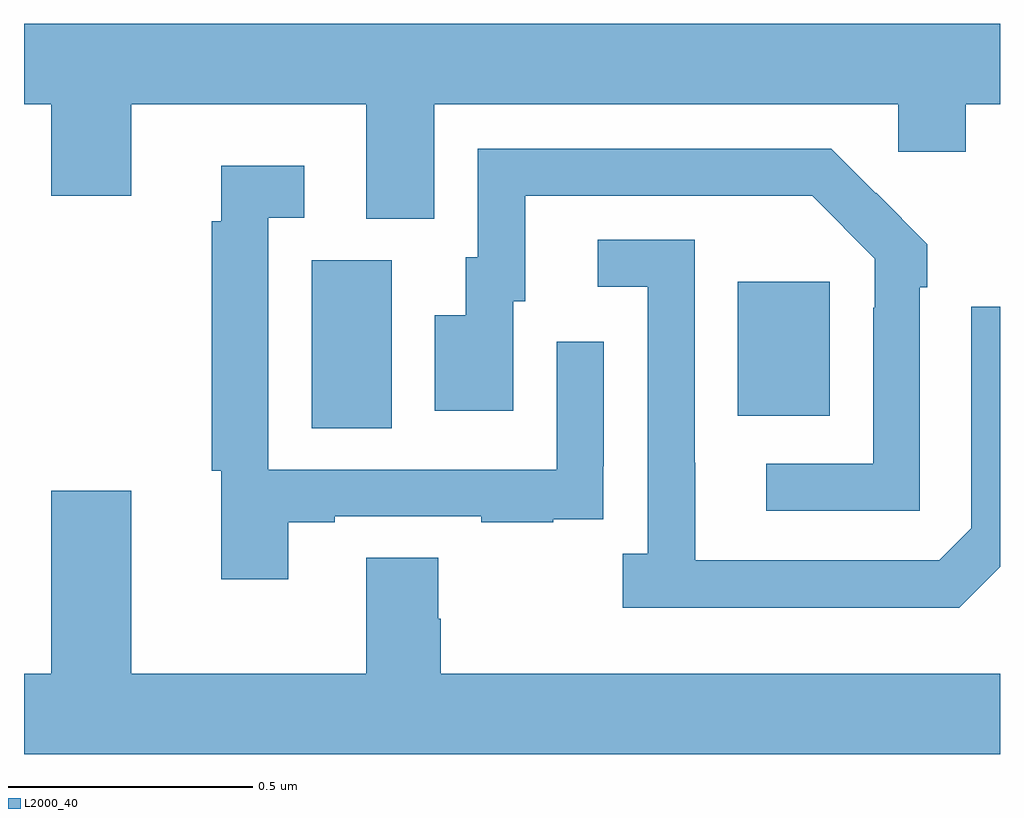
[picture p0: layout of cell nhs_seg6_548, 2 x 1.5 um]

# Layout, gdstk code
import gdstk
lib = gdstk.Library(unit=1e-6, precision=1e-09)
def R(c, l, rs):  # rectangles x0, y0, x1, y1
    for r in rs: c.add(gdstk.rectangle(r[:2], r[2:], *l))
def P(c, l, *ps):  # polygons
    for p in ps: c.add(gdstk.Polygon(p, *l))
L2000_40 = (2000, 40)

nhs_seg6_548 = lib.new_cell('nhs_seg6_548')
R(nhs_seg6_548, L2000_40, [(117.59,978.64,117.754,978.984), (118.463,978.665,118.651,978.94)])
P(nhs_seg6_548, L2000_40, [(117.841,979.304),(118.791,979.304),(118.791,979.206),(118.93,979.206),(118.93,979.304),(119,979.304),(119,979.468),(117,979.468),(117,979.304),(117.056,979.304),(117.056,979.116),(117.22,979.116),(117.22,979.304),(117.701,979.304),(117.701,979.069),(117.841,979.069)],
  [(118.836,978.929),(118.851,978.929),(118.851,979.017),(118.746,979.122),(118.745,979.121),(118.654,979.212),(117.93,979.212),(117.93,978.99),(117.905,978.99),(117.905,978.871),(117.842,978.871),(117.842,978.675),(118.003,978.675),(118.003,978.9),(118.027,978.9),(118.027,979.116),(118.615,979.116),(118.743,978.987),(118.743,978.887),(118.74,978.887),(118.74,978.567),(118.521,978.567),(118.521,978.471),(118.836,978.471)],
  [(117.541,978.447),(117.637,978.447),(117.637,978.459),(117.937,978.459),(117.937,978.447),(118.085,978.447),(118.085,978.453),(118.187,978.453),(118.187,978.562),(118.188,978.562),(118.188,978.817),(118.092,978.817),(118.092,978.555),(117.501,978.555),(117.501,979.071),(117.574,979.071),(117.574,979.177),(117.404,979.177),(117.404,979.064),(117.385,979.064),(117.385,978.552),(117.404,978.552),(117.404,978.33),(117.541,978.33)],
  [(119,978.356),(119,978.889),(118.941,978.889),(118.941,978.435),(118.875,978.369),(118.375,978.369),(118.375,978.569),(118.374,978.569),(118.374,979.026),(118.176,979.026),(118.176,978.93),(118.278,978.93),(118.278,978.382),(118.227,978.382),(118.227,978.272),(118.916,978.272)],
  [(119,978.136),(117.854,978.136),(117.854,978.249),(117.849,978.249),(117.849,978.374),(117.701,978.374),(117.701,978.136),(117.22,978.136),(117.22,978.511),(117.056,978.511),(117.056,978.136),(117,978.136),(117,977.972),(119,977.972)])

lib.write_gds('nhs_seg6_548.gds')
